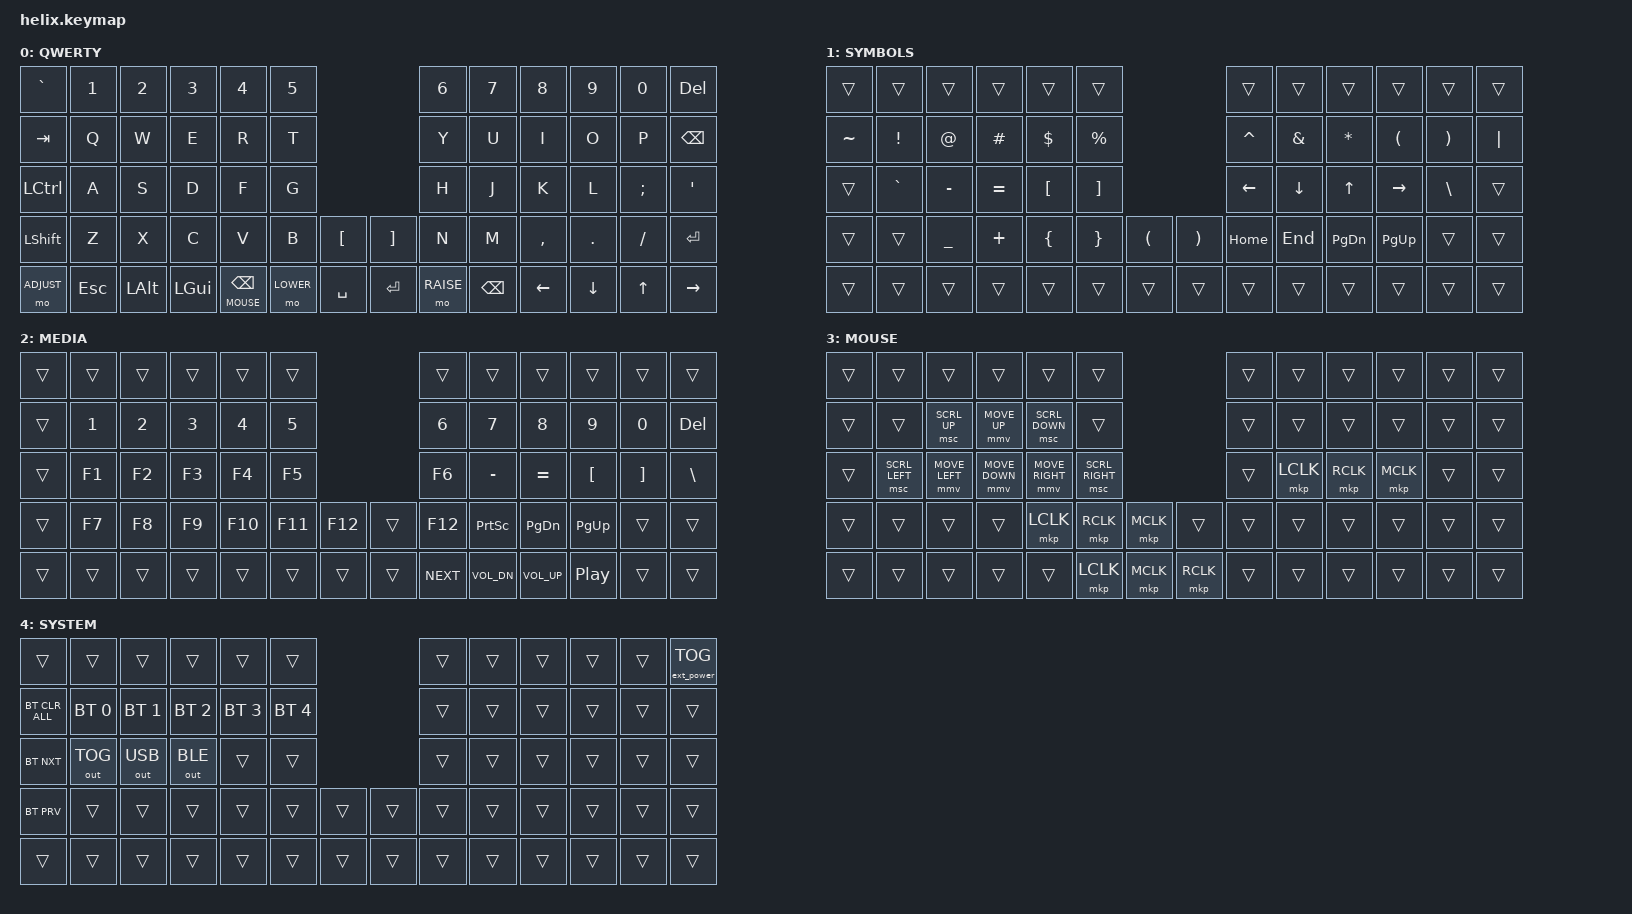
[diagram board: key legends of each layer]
/*
 * Copyright (c) 2020 The ZMK Contributors
 *
 * SPDX-License-Identifier: MIT
 */

#include <behaviors.dtsi>
#include <dt-bindings/zmk/keys.h>
#include <dt-bindings/zmk/bt.h>
#include <dt-bindings/zmk/ext_power.h>
#include <dt-bindings/zmk/outputs.h>
#include <dt-bindings/zmk/mouse.h>

#define DEFAULT 0
#define LOWER   1
#define RAISE   2
#define MOUSE   3
#define ADJUST  4

/ {
    keymap {
        compatible = "zmk,keymap";

        default_layer {
           display-name = "QWERTY";
// -----------------------------------------------------------------------------------------
// |  GRV  |   1   |   2   |   3   |   4   |   5   |               |   6   |   7   |   8   |   9   |   0   |  DEL  |
// |  TAB  |   Q   |   W   |   E   |   R   |   T   |               |   Y   |   U   |   I   |   O   |   P   |  BSPC |
// | CTRL  |   A   |   S   |   D   |   F   |   G   |               |   H   |   J   |   K   |   L   |   ;   |   '   |
// | SHIFT |   Z   |   X   |   C   |   V   |   B   |  [ {  | ] }   |   N   |   M   |   ,   |   .   |   /   |  RET  |
// |  ADJ  |  ESC  |  ALT  |  GUI  |MOU/BSP| LOWER | SPACE | ENTER | RAISE |  BSPC | LEFT  | DOWN  |  UP   | RIGHT |
            bindings = <
    &kp GRAVE  &kp N1  &kp N2   &kp N3   &kp N4         &kp N5                                &kp N6    &kp N7   &kp N8    &kp N9     &kp N0    &kp DEL
    &kp TAB    &kp Q   &kp W    &kp E    &kp R          &kp T                                 &kp Y     &kp U    &kp I     &kp O      &kp P     &kp BSPC
    &kp LCTRL  &kp A   &kp S    &kp D    &kp F          &kp G                                 &kp H     &kp J    &kp K     &kp L      &kp SEMI  &kp SQT
    &kp LSHFT  &kp Z   &kp X    &kp C    &kp V          &kp B     &kp LBKT        &kp RBKT    &kp N     &kp M    &kp COMMA &kp PERIOD &kp SLASH &kp RET
    &mo ADJUST &kp ESC &kp LALT &kp LGUI &lt MOUSE BSPC &mo LOWER &kp SPACE       &kp RET   &mo RAISE &kp BSPC &kp LEFT  &kp DOWN   &kp UP    &kp RIGHT
            >;
        };

        lower_layer {
            display-name = "SYMBOLS";
// -----------------------------------------------------------------------------------------
// |       |       |       |       |       |       |               |       |       |       |       |       |       |
// |   ~   |   !   |   @   |   #   |   $   |   %   |               |   ^   |   &   |   *   |   (   |   )   |   |   |
// |       |   `   |   -   |   =   |   [   |   ]   |               | LEFT  | DOWN  |  UP   | RIGHT |   \   |       |
// |       |       |   _   |   +   |   {   |   }   |   (   |   )   | HOME  |  END  | PG_DN | PG_UP |       |       |
// |       |       |       |       |       |       |       |       |       |       |       |       |       |       |
            bindings = <
    &trans    &trans    &trans    &trans    &trans    &trans                            &trans    &trans   &trans    &trans    &trans    &trans
    &kp TILDE &kp EXCL  &kp AT    &kp HASH  &kp DLLR  &kp PRCNT                        &kp CARET &kp AMPS &kp ASTRK &kp LPAR  &kp RPAR  &kp PIPE
    &trans    &kp GRAVE &kp MINUS &kp EQUAL &kp LBKT  &kp RBKT                         &kp LEFT  &kp DOWN &kp UP    &kp RIGHT &kp BSLH  &trans
    &trans    &trans    &kp UNDER &kp PLUS  &kp LBRC  &kp RBRC  &kp LPAR    &kp RPAR  &kp HOME  &kp END  &kp PG_DN &kp PG_UP &trans    &trans
    &trans    &trans    &trans    &trans    &trans    &trans    &trans      &trans    &trans    &trans   &trans    &trans    &trans    &trans
            >;
        };

        raise_layer {
            display-name = "MEDIA";
// -----------------------------------------------------------------------------------------
// |       |       |       |       |       |       |               |       |       |       |       |       |       |
// |       |   1   |   2   |   3   |   4   |   5   |               |   6   |   7   |   8   |   9   |   0   |  DEL  |
// |       |  F1   |  F2   |  F3   |  F4   |  F5   |               |  F6   |   -   |   =   |   [   |   ]   |   \   |
// |       |  F7   |  F8   |  F9   |  F10  |  F11  |  F12  |       |  F12  | PSCRN | PG_DN | PG_UP |       |       |
// |       |       |       |       |       |       |       |       | NEXT  | VOL-  | VOL+  | PLAY  |       |       |
            bindings = <
    &trans &trans &trans &trans &trans  &trans                          &trans  &trans       &trans       &trans       &trans    &trans
    &trans &kp N1 &kp N2 &kp N3 &kp N4  &kp N5                          &kp N6  &kp N7       &kp N8       &kp N9       &kp N0    &kp DEL
    &trans &kp F1 &kp F2 &kp F3 &kp F4  &kp F5                          &kp F6  &kp MINUS    &kp EQUAL    &kp LBKT     &kp RBKT  &kp BSLH
    &trans &kp F7 &kp F8 &kp F9 &kp F10 &kp F11 &kp F12     &trans      &kp F12 &kp PSCRN    &kp PG_DN    &kp PG_UP    &trans    &trans
    &trans &trans &trans &trans &trans  &trans  &trans      &trans      &kp C_NEXT &kp C_VOL_DN &kp C_VOL_UP &kp C_PP  &trans    &trans
            >;
        };

        mouse_layer {
            display-name = "MOUSE";
// Mouse movement on left ESDF cluster, scroll on W/R/A/G, clicks on thumbs and right JKL
// -----------------------------------------------------------------------------------------
// |       |       |       |       |       |       |               |       |       |       |       |       |       |
// |       |       | SC_UP | MV_UP | SC_DN |       |               |       |       |       |       |       |       |
// |       | SC_LT | MV_LT | MV_DN | MV_RT | SC_RT |               |       | LCLK  | RCLK  | MCLK  |       |       |
// |       |       |       |       | LCLK  | RCLK  | MCLK  |       |       |       |       |       |       |       |
// |       |       |       |       |       | LCLK  | MCLK  | RCLK  |       |       |       |       |       |       |
            bindings = <
    &trans &trans          &trans          &trans          &trans           &trans                                    &trans &trans    &trans    &trans    &trans &trans
    &trans &trans          &msc SCRL_UP    &mmv MOVE_UP    &msc SCRL_DOWN   &trans                                    &trans &trans    &trans    &trans    &trans &trans
    &trans &msc SCRL_LEFT  &mmv MOVE_LEFT  &mmv MOVE_DOWN  &mmv MOVE_RIGHT  &msc SCRL_RIGHT                           &trans &mkp LCLK &mkp RCLK &mkp MCLK &trans &trans
    &trans &trans          &trans          &trans          &mkp LCLK        &mkp RCLK       &mkp MCLK    &trans       &trans &trans    &trans    &trans    &trans &trans
    &trans &trans          &trans          &trans          &trans           &mkp LCLK       &mkp MCLK    &mkp RCLK    &trans &trans    &trans    &trans    &trans &trans
            >;
        };

        adjust_layer {
            display-name = "SYSTEM";
// Bluetooth profile selection, output toggle, power
// -----------------------------------------------------------------------------------------
// |       |       |       |       |       |       |               |       |       |       |       |       |EP_TOG |
// |BT_CALL|BT_SEL0|BT_SEL1|BT_SEL2|BT_SEL3|BT_SEL4|               |       |       |       |       |       |       |
// |BT_NXT |OUT_TOG|OUT_USB|OUT_BLE|       |       |               |       |       |       |       |       |       |
// |BT_PRV |       |       |       |       |       |       |       |       |       |       |       |       |       |
// |       |       |       |       |       |       |       |       |       |       |       |       |       |       |
            bindings = <
    &trans         &trans       &trans       &trans       &trans       &trans                              &trans &trans &trans &trans &trans &ext_power EP_TOG
    &bt BT_CLR_ALL &bt BT_SEL 0 &bt BT_SEL 1 &bt BT_SEL 2 &bt BT_SEL 3 &bt BT_SEL 4                     &trans &trans &trans &trans &trans &trans
    &bt BT_NXT     &out OUT_TOG &out OUT_USB &out OUT_BLE &trans       &trans                              &trans &trans &trans &trans &trans &trans
    &bt BT_PRV     &trans       &trans       &trans       &trans       &trans       &trans     &trans      &trans &trans &trans &trans &trans &trans
    &trans         &trans       &trans       &trans       &trans       &trans       &trans     &trans      &trans &trans &trans &trans &trans &trans
            >;
        };
    };
};
